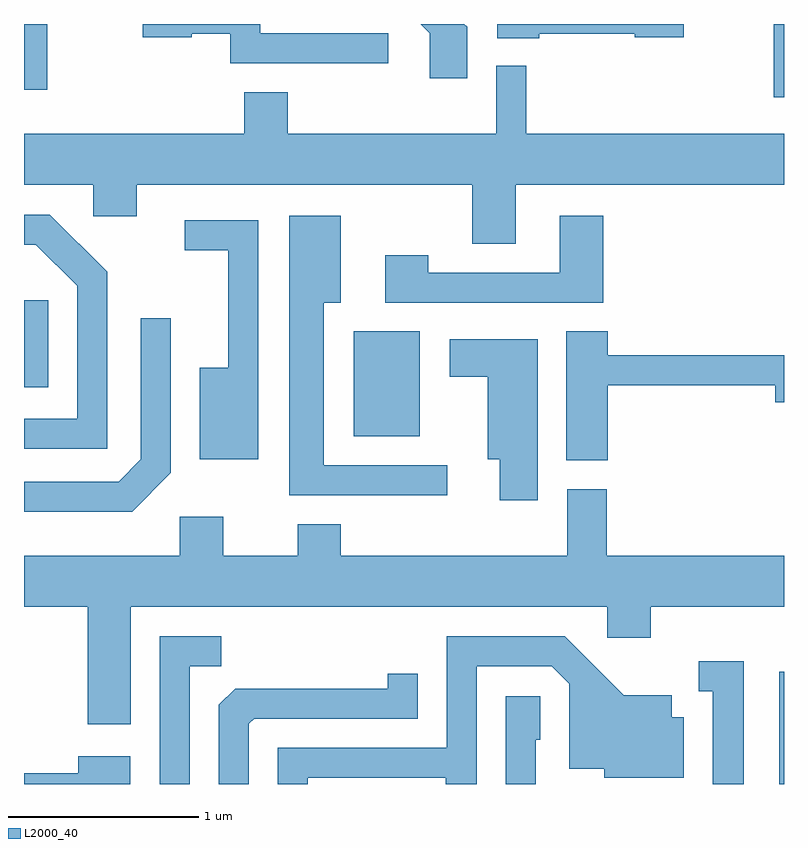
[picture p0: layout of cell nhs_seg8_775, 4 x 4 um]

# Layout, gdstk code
import gdstk
lib = gdstk.Library(unit=1e-6, precision=1e-09)
def R(c, l, rs):  # rectangles x0, y0, x1, y1
    for r in rs: c.add(gdstk.rectangle(r[:2], r[2:], *l))
def P(c, l, *ps):  # polygons
    for p in ps: c.add(gdstk.Polygon(p, *l))
L2000_40 = (2000, 40)

nhs_seg8_775 = lib.new_cell('nhs_seg8_775')
R(nhs_seg8_775, L2000_40, [(211.586,1864.342,211.611,1864.934), (209.346,1866.171,209.694,1866.724), (207.611,1866.431,207.739,1866.889), (211.556,1867.956,211.611,1868.342), (207.611,1867.996,207.734,1868.342)])
P(nhs_seg8_775, L2000_40, [(209.528,1868.294),(208.854,1868.294),(208.854,1868.342),(208.236,1868.342),(208.236,1868.271),(208.494,1868.271),(208.494,1868.291),(208.696,1868.291),(208.696,1868.136),(209.528,1868.136)],
  [(210.324,1868.291),(210.826,1868.291),(210.826,1868.271),(211.084,1868.271),(211.084,1868.342),(210.101,1868.342),(210.101,1868.266),(210.324,1868.266)],
  [(209.944,1868.327),(209.929,1868.342),(209.698,1868.342),(209.746,1868.294),(209.746,1868.056),(209.944,1868.056)],
  [(210.199,1867.496),(211.611,1867.496),(211.611,1867.764),(210.254,1867.764),(210.254,1868.123),(210.096,1868.123),(210.096,1867.764),(208.999,1867.764),(208.999,1867.984),(208.771,1867.984),(208.771,1867.764),(207.611,1867.764),(207.611,1867.496),(207.976,1867.496),(207.976,1867.331),(208.204,1867.331),(208.204,1867.496),(209.971,1867.496),(209.971,1867.186),(210.199,1867.186)],
  [(208.049,1867.037),(207.747,1867.339),(207.611,1867.339),(207.611,1867.181),(207.674,1867.181),(207.891,1866.964),(207.891,1866.264),(207.611,1866.264),(207.611,1866.106),(208.049,1866.106)],
  [(209.838,1866.019),(209.189,1866.019),(209.189,1866.876),(209.279,1866.876),(209.279,1867.334),(209.006,1867.334),(209.006,1865.861),(209.838,1865.861)],
  [(210.659,1867.334),(210.431,1867.334),(210.431,1867.034),(209.739,1867.034),(209.739,1867.124),(209.511,1867.124),(209.511,1866.876),(210.659,1866.876)],
  [(208.844,1867.309),(208.458,1867.309),(208.458,1867.151),(208.686,1867.151),(208.686,1866.534),(208.536,1866.534),(208.536,1866.051),(208.844,1866.051)],
  [(208.384,1865.979),(208.384,1866.793),(208.226,1866.793),(208.226,1866.052),(208.109,1865.934),(207.611,1865.934),(207.611,1865.776),(208.182,1865.776)],
  [(210.684,1866.441),(211.566,1866.441),(211.566,1866.351),(211.611,1866.351),(211.611,1866.599),(210.684,1866.599),(210.684,1866.724),(210.466,1866.724),(210.466,1866.046),(210.684,1866.046)],
  [(210.314,1866.684),(209.851,1866.684),(209.851,1866.486),(210.051,1866.486),(210.051,1866.051),(210.116,1866.051),(210.116,1865.836),(210.314,1865.836)],
  [(208.174,1865.276),(210.681,1865.276),(210.681,1865.111),(210.909,1865.111),(210.909,1865.276),(211.611,1865.276),(211.611,1865.544),(210.679,1865.544),(210.679,1865.894),(210.471,1865.894),(210.471,1865.544),(209.279,1865.544),(209.279,1865.709),(209.051,1865.709),(209.051,1865.544),(208.659,1865.544),(208.659,1865.749),(208.431,1865.749),(208.431,1865.544),(207.611,1865.544),(207.611,1865.276),(207.946,1865.276),(207.946,1864.656),(208.174,1864.656)],
  [(209.104,1864.376),(209.831,1864.376),(209.831,1864.342),(209.994,1864.342),(209.994,1864.961),(210.389,1864.961),(210.481,1864.869),(210.481,1864.421),(210.666,1864.421),(210.666,1864.376),(211.084,1864.376),(211.084,1864.694),(211.019,1864.694),(211.019,1864.809),(210.767,1864.809),(210.457,1865.119),(209.836,1865.119),(209.836,1864.534),(208.946,1864.534),(208.946,1864.342),(209.104,1864.342)],
  [(208.484,1864.961),(208.648,1864.961),(208.648,1865.119),(208.326,1865.119),(208.326,1864.342),(208.484,1864.342)],
  [(211.399,1864.989),(211.163,1864.989),(211.163,1864.831),(211.236,1864.831),(211.236,1864.342),(211.399,1864.342)],
  [(208.794,1864.659),(208.822,1864.686),(209.684,1864.686),(209.684,1864.923),(209.526,1864.923),(209.526,1864.844),(208.722,1864.844),(208.636,1864.759),(208.636,1864.342),(208.794,1864.342)],
  [(210.304,1864.576),(210.329,1864.576),(210.329,1864.804),(210.146,1864.804),(210.146,1864.342),(210.304,1864.342)],
  [(208.169,1864.489),(207.896,1864.489),(207.896,1864.399),(207.611,1864.399),(207.611,1864.342),(208.169,1864.342)])

lib.write_gds('nhs_seg8_775.gds')
